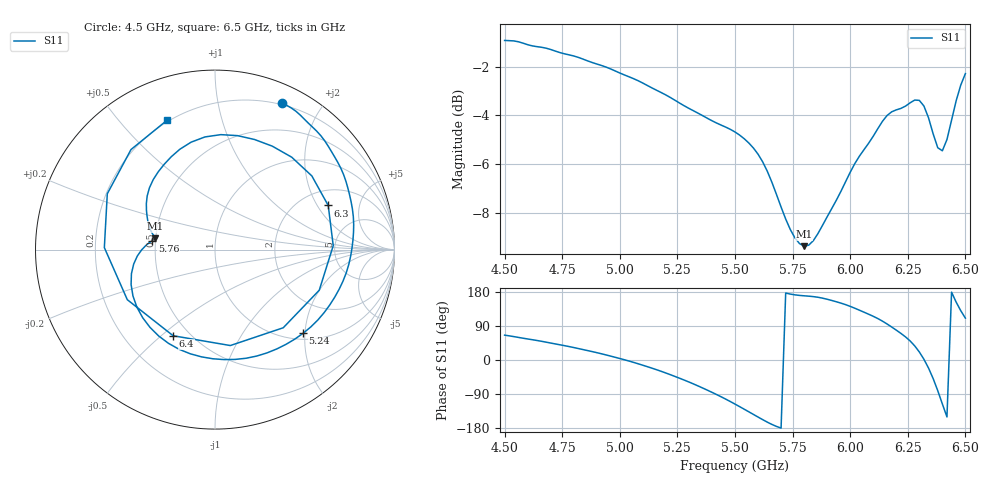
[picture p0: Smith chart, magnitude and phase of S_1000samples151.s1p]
! TOUCHSTONE file generated by CST MICROWAVE STUDIO
! Date and time: Thu Oct 27 04:18:45 2022
! Project name: L.cst
! Parameters = {Di=1.27; Epsilon_r=1.56; InnerDiameter=1.27; Length=2; Lf=10; Lg=60; OuterConductorThickness=0.2921; OuterDiameter=3.6; Wf=3; Wp=41.2; de=1.5; df=6.8; g=0.8; gx=1.54775; gy=1.17988; h=2.34; hf=1.524; px=9.48047; py=12.3978; w=9.7; wx=7.93271; wy=11.218}
! Header version: 2018
! Port assignment regex: !\s*Touchstone port\s*([0-9]+)\s*=\s*(CST MWS port|CST DS port)\s*([0-9]+|Zmin|Zmax)\s*\(\"(.*)\"\)(\s*mode\s*([0-9]+))?.*
! Touchstone port assignment:
! Touchstone port 1 = CST MWS port 1 ("")
# GHz S DB R 50
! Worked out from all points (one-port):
!   101 points, 4.5 GHz to 6.5 GHz, reference 50 ohm
!   lowest |S11| = -9.4 dB at 5.8 GHz (marker M1), VSWR 2.03, Z = 24.8 + j3.51 ohm
!   |S11| at or under -10 dB: nowhere
!   S11 on the Smith chart (normalised r, x): 4.5 GHz: 0.18, +1.54; 5.24 GHz: 1.14, -1.96; 5.76 GHz: 0.48, +0.05; 6.3 GHz: 2.75, +2.50; 6.4 GHz: 0.41, -0.55; 6.5 GHz: 0.19, +0.68
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4.5  -0.93 65.5
4.76  -1.48 37.8
5  -2.27 3.9
5.12  -2.78 -17.7
5.24  -3.39 -43.5
5.26  -3.50 -48.3
5.38  -4.12 -79.6
5.5  -4.69 -116.4
5.62  -5.91 -157.3
5.68  -7.25 -175.3
5.76  -9.03 171.9
5.8  -9.37 169.4
5.9  -8.16 160.3
6  -6.34 141.6
6.1  -4.86 115.3
6.16  -4.01 95.1
6.22  -3.72 70.2
6.26  -3.49 50.3
6.3  -3.39 21.3
6.32  -3.62 1.9
6.34  -4.10 -21.3
6.36  -4.76 -48.9
6.38  -5.33 -80.9
6.4  -5.46 -115.9
6.42  -4.99 -150.3
6.44  -4.20 179.0
6.46  -3.40 152.6
6.5  -2.29 110.4
